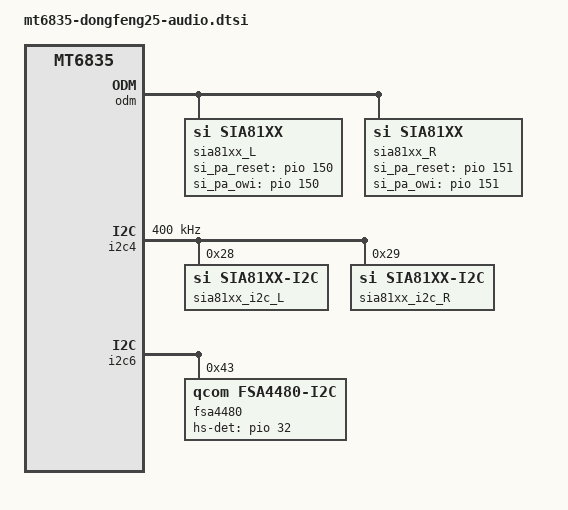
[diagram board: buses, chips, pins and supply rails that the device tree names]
/* Copyright (c) 2018, The Linux Foundation. All rights reserved.
 *
 * This program is free software; you can redistribute it and/or modify
 * it under the terms of the GNU General Public License version 2 and
 * only version 2 as published by the Free Software Foundation.
 *
 * This program is distributed in the hope that it will be useful,
 * but WITHOUT ANY WARRANTY; without even the implied warranty of
 * MERCHANTABILITY or FITNESS FOR A PARTICULAR PURPOSE.  See the
 * GNU General Public License for more details.
 */

&pio {
        sia81xx_gpio_L: sia81xx_gpio_L {
                pins_cmd_dat {
                        pinmux = <PINMUX_GPIO151__FUNC_GPIO151>;
                        slew-rate = <1>;
                        bias-disable;
                };
        };

        sia81xx_gpio_R: sia81xx_gpio_R {
                pins_cmd_dat {
                        pinmux = <PINMUX_GPIO150__FUNC_GPIO150>;
                        slew-rate = <1>;
                        bias-disable;
                };
        };

        fsa_hs_det: fsa_hs_det {
                pins_cmd_dat {
                        pinmux = <PINMUX_GPIO32__FUNC_GPIO32>;
                        slew-rate = <1>;  /*direction 0:in, 1:out*/
                        output-high;
                };
        };

	i2c4_mode_default: i2c4_mode_default {
                pins_cmd_dat {
                        pinmux = <PINMUX_GPIO135__FUNC_SCL4>,
                                 <PINMUX_GPIO136__FUNC_SDA4>;
                        bias-pull-up = <MTK_PULL_SET_RSEL_110>;
                };
	};
};

&odm {
       sia81xx_L: sia81xx@L{
                compatible = "si,sia81xx";
                si,si_pa_type = "sia81x9";
                si,si_pa_reset = <&pio 150 0>;
                si,si_pa_owi = <&pio 150 0>;
                pinctrl-names = "si_pa_gpio";
                pinctrl-0 = <&sia81xx_gpio_L>;
                si,si_pa_disable_pin = <0>;
                channel_num = <0>;
                owi_mode = <1>;
        };
        sia81xx_R: sia81xx@R{
                compatible = "si,sia81xx";
                si,si_pa_type = "sia81x9";
                si,si_pa_reset = <&pio 151 0>;
                si,si_pa_owi = <&pio 151 0>;
                pinctrl-names = "si_pa_gpio";
                pinctrl-0 = <&sia81xx_gpio_R>;
                si,si_pa_disable_pin = <0>;
                channel_num = <1>;
                owi_mode = <1>;
        };
};

&i2c4 {
        #address-cells = <1>;
        #size-cells = <0>;
        clock-frequency = <400000>;
        pinctrl-names = "default";
        pinctrl-0 = <&i2c4_mode_default>;

        sia81xx_i2c_L: sia81xx_i2c@L {
                compatible = "si,sia81xx-i2c";
                reg = <0x28>;
                si,sipa-dev = <&sia81xx_L>;
        };
        sia81xx_i2c_R: sia81xx_i2c@R {
                compatible = "si,sia81xx-i2c";
                reg = <0x29>;
                si,sipa-dev = <&sia81xx_R>;
        };
};

&i2c6{
        fsa4480: fsa4480@43 {
                compatible = "qcom,fsa4480-i2c";
                reg = <0x43>;
                pinctrl-names = "default";
                pinctrl-0 = <&fsa_hs_det>;
                fsa4480,hs-det-gpio = <&pio 32 0>;
                fsa4480,hp-bypass = <1>;
                status = "okay";
        };
};

&sound {
        si,sia81xx-max-num = <2>;
        si,sia81xx-aux-devs = <&sia81xx_L>, <&sia81xx_R>;
        si,sia81xx-aux-devs-prefix = "SpkrLeft", "SpkrRight";
        /* 2024/5/28, add for dual PA special dapm handle to resolve pop sound when PA closing */
        oplus,special-pa-dapm = <1>;
};

&accdet{
        // eint_use_ext_res = <1>;
        // headset-eint-trig-mode = <2>;
        headset-three-key-threshold = <0 80 220 400>;
        hp-eint0-disable = <1>;
};
&speech_usip_mem{
	adsp-phone-call-enh-enable = <0x5>;
};
